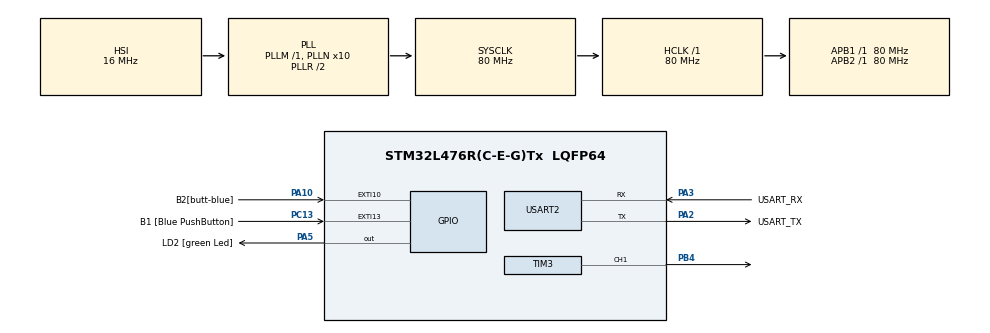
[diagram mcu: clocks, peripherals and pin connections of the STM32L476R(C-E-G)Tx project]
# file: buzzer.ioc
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Mcu.Family=STM32L4
Mcu.Name=STM32L476R(C-E-G)Tx
Mcu.Package=LQFP64
NVIC.EXTI15_10_IRQn=true\:0\:0\:false\:false\:true\:true\:true\:true
NVIC.PriorityGroup=NVIC_PRIORITYGROUP_4
NVIC.TIM3_IRQn=true\:0\:0\:false\:false\:true\:true\:true\:true
NVIC.TIM6_DAC_IRQn=true\:0\:0\:false\:false\:true\:true\:true\:true
NVIC.USART2_IRQn=true\:0\:0\:false\:false\:true\:true\:true\:true
PA10.GPIO_Label=B2[butt-blue]
PA10.Signal=GPXTI10
PA13\ (JTMS-SWDIO).GPIO_Label=TMS
PA13\ (JTMS-SWDIO).Mode=Serial_Wire
PA13\ (JTMS-SWDIO).Signal=SYS_JTMS-SWDIO
PA14\ (JTCK-SWCLK).GPIO_Label=TCK
PA14\ (JTCK-SWCLK).Mode=Serial_Wire
PA14\ (JTCK-SWCLK).Signal=SYS_JTCK-SWCLK
PA2.GPIO_Label=USART_TX
PA2.GPIO_Mode=GPIO_MODE_AF_PP
PA2.GPIO_PuPd=GPIO_NOPULL
PA2.GPIO_Speed=GPIO_SPEED_FREQ_VERY_HIGH
PA2.Mode=Asynchronous
PA2.Signal=USART2_TX
PA3.GPIO_Label=USART_RX
PA3.GPIO_Mode=GPIO_MODE_AF_PP
PA3.GPIO_PuPd=GPIO_NOPULL
PA3.GPIO_Speed=GPIO_SPEED_FREQ_VERY_HIGH
PA3.Mode=Asynchronous
PA3.Signal=USART2_RX
PA5.GPIO_Label=LD2 [green Led]
PA5.GPIO_ModeDefaultOutputPP=GPIO_MODE_OUTPUT_PP
PA5.GPIO_PuPd=GPIO_NOPULL
PA5.GPIO_Speed=GPIO_SPEED_FREQ_LOW
PA5.Signal=GPIO_Output
PB3\ (JTDO-TRACESWO).GPIO_Label=SWO
PB3\ (JTDO-TRACESWO).Signal=SYS_JTDO-SWO
PB4\ (NJTRST).Signal=S_TIM3_CH1
PC13.GPIO_Label=B1 [Blue PushButton]
PC13.GPIO_ModeDefaultEXTI=GPIO_MODE_IT_FALLING
PC13.GPIO_PuPd=GPIO_NOPULL
PC13.Signal=GPXTI13
PC14-OSC32_IN\ (PC14).Mode=LSE-External-Oscillator
PC14-OSC32_IN\ (PC14).Signal=RCC_OSC32_IN
PC15-OSC32_OUT\ (PC15).Mode=LSE-External-Oscillator
PC15-OSC32_OUT\ (PC15).Signal=RCC_OSC32_OUT
PH0-OSC_IN\ (PH0).Signal=RCC_OSC_IN
PH1-OSC_OUT\ (PH1).Signal=RCC_OSC_OUT
ProjectManager.HeapSize=0x200
ProjectManager.StackSize=0x400
ProjectManager.TargetToolchain=STM32CubeIDE
RCC.ADCFreq_Value=64000000
RCC.AHBFreq_Value=80000000
RCC.APB1Freq_Value=80000000
RCC.APB1TimFreq_Value=80000000
RCC.APB2Freq_Value=80000000
RCC.APB2TimFreq_Value=80000000
RCC.CortexFreq_Value=80000000
RCC.HCLKFreq_Value=80000000
RCC.HSE_VALUE=8000000
RCC.HSI_VALUE=16000000
RCC.MSI_VALUE=4000000
RCC.PLLN=10
RCC.PLLSourceVirtual=RCC_PLLSOURCE_HSI
RCC.PREFETCH_ENABLE=1
RCC.SYSCLKFreq_VALUE=80000000
RCC.SYSCLKSource=RCC_SYSCLKSOURCE_PLLCLK
RCC.USBFreq_Value=64000000
RCC.VCOOutputFreq_Value=160000000
SH.S_TIM3_CH1.0=TIM3_CH1,PWM Generation1 CH1
TIM3.Channel-PWM\ Generation1\ CH1=TIM_CHANNEL_1
TIM3.Period=100
TIM3.Prescaler=799
TIM3.Pulse-PWM\ Generation1\ CH1=50
TIM6.Period=3999
TIM6.Prescaler=7999
USART2.VirtualMode-Asynchronous=VM_ASYNC
VP_TIM3_VS_ClockSourceINT.Mode=Internal
VP_TIM6_VS_ClockSourceINT.Mode=Enable_Timer
board=NUCLEO-L476RG

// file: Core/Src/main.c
/* USER CODE BEGIN Header */
/**
  ******************************************************************************
  * @file           : main.c
  * @brief          : Main program body
  ******************************************************************************
  * @attention
  *
  * Copyright (c) 2022 STMicroelectronics.
  * All rights reserved.
  *
  * This software is licensed under terms that can be found in the LICENSE file
  * in the root directory of this software component.
  * If no LICENSE file comes with this software, it is provided AS-IS.
  *
  ******************************************************************************
  */
/* USER CODE END Header */
#include "main.h"

 TIM_HandleTypeDef htim3;
TIM_HandleTypeDef htim6;

UART_HandleTypeDef huart2;

void SystemClock_Config(void);
static void MX_GPIO_Init(void);
static void MX_USART2_UART_Init(void);
static void MX_TIM3_Init(void);
static void MX_TIM6_Init(void);

/* USER CODE BEGIN 0 */
typedef enum BUTT_STATE_
{
	STATE_MUSIC_ON,
	STATE_MUSIC_OFF,
}BUTT_STATE;

BUTT_STATE play = STATE_MUSIC_OFF;

//int note[] = {390, 340, 303, 286, 255, 227, 202};
//int note[] = {698, 784, 880, 784, 698, 659, 698, 698, 698, 659, 698, 659, 523, 587, 587, 587, 587, 523, 523, 523, 523, 698, 784, 880, 784, 698, 659, 698, 0, 0, 698, 784, 698, 659, 523 };
int note[] = {392, 330, 330, 349, 294, 294, 262, 294, 349, 392, 392, 392};
int lenght[] = {4, 4, 2, 4, 4, 2, 4, 4, 4, 4, 4, 4, 2};
size_t size = sizeof(note)/sizeof(note[0]);
int currentNote = 0;
int tone = 3;
int sec = 9999;

void Buzzer_playNote(int noteIdx)
{
	currentNote = noteIdx;

	__HAL_TIM_SET_COUNTER(&htim3, 0);
	__HAL_TIM_SET_AUTORELOAD(&htim3, note[currentNote]);
	__HAL_TIM_SET_COMPARE(&htim3, TIM_CHANNEL_1, (note[currentNote])/2);

	__HAL_TIM_SET_COUNTER(&htim6, 0);
	__HAL_TIM_SET_AUTORELOAD(&htim6, sec/lenght[currentNote]);
}

void Buzzer_playNextNote()
{
	currentNote++;
	if(currentNote >= size){
		currentNote = 0;
	}
	Buzzer_playNote(currentNote);
}

void HAL_GPIO_EXTI_Callback(uint16_t GPIO_Pin)
{
	if(play == STATE_MUSIC_OFF){
		HAL_TIM_Base_Start_IT(&htim3);
		HAL_TIM_PWM_Start_IT(&htim3, TIM_CHANNEL_1);
		Buzzer_playNote(0);
		play = STATE_MUSIC_ON;
	}
	else
	{
		HAL_TIM_Base_Stop_IT(&htim3);
		HAL_TIM_PWM_Stop_IT(&htim3, TIM_CHANNEL_1);
		play = STATE_MUSIC_OFF;
	}
}

void HAL_TIM_PeriodElapsedCallback(TIM_HandleTypeDef * htim)
{
	if(htim == &htim6){
		Buzzer_playNextNote();
	}
}

/* USER CODE END 0 */

int main(void)
{

  /* MCU Configuration--------------------------------------------------------*/

  /* Reset of all peripherals, Initializes the Flash interface and the Systick. */
  HAL_Init();

  /* Configure the system clock */
  SystemClock_Config();

  /* Initialize all configured peripherals */
  MX_GPIO_Init();
  MX_USART2_UART_Init();
  MX_TIM3_Init();
  MX_TIM6_Init();
  /* USER CODE BEGIN 2 */
  HAL_TIM_Base_Start_IT(&htim6);
  /* USER CODE END 2 */

  /* Infinite loop */
  while (1)
  {

  }
}

void SystemClock_Config(void)
{
  RCC_OscInitTypeDef RCC_OscInitStruct = {0};
  RCC_ClkInitTypeDef RCC_ClkInitStruct = {0};

  /** Configure the main internal regulator output voltage
  */
  if (HAL_PWREx_ControlVoltageScaling(PWR_REGULATOR_VOLTAGE_SCALE1) != HAL_OK)
  {
    Error_Handler();
  }

  /** Initializes the RCC Oscillators according to the specified parameters
  * in the RCC_OscInitTypeDef structure.
  */
  RCC_OscInitStruct.OscillatorType = RCC_OSCILLATORTYPE_HSI;
  RCC_OscInitStruct.HSIState = RCC_HSI_ON;
  RCC_OscInitStruct.HSICalibrationValue = RCC_HSICALIBRATION_DEFAULT;
  RCC_OscInitStruct.PLL.PLLState = RCC_PLL_ON;
  RCC_OscInitStruct.PLL.PLLSource = RCC_PLLSOURCE_HSI;
  RCC_OscInitStruct.PLL.PLLM = 1;
  RCC_OscInitStruct.PLL.PLLN = 10;
  RCC_OscInitStruct.PLL.PLLP = RCC_PLLP_DIV7;
  RCC_OscInitStruct.PLL.PLLQ = RCC_PLLQ_DIV2;
  RCC_OscInitStruct.PLL.PLLR = RCC_PLLR_DIV2;
  if (HAL_RCC_OscConfig(&RCC_OscInitStruct) != HAL_OK)
  {
    Error_Handler();
  }

  /** Initializes the CPU, AHB and APB buses clocks
  */
  RCC_ClkInitStruct.ClockType = RCC_CLOCKTYPE_HCLK|RCC_CLOCKTYPE_SYSCLK
                              |RCC_CLOCKTYPE_PCLK1|RCC_CLOCKTYPE_PCLK2;
  RCC_ClkInitStruct.SYSCLKSource = RCC_SYSCLKSOURCE_PLLCLK;
  RCC_ClkInitStruct.AHBCLKDivider = RCC_SYSCLK_DIV1;
  RCC_ClkInitStruct.APB1CLKDivider = RCC_HCLK_DIV1;
  RCC_ClkInitStruct.APB2CLKDivider = RCC_HCLK_DIV1;

  if (HAL_RCC_ClockConfig(&RCC_ClkInitStruct, FLASH_LATENCY_4) != HAL_OK)
  {
    Error_Handler();
  }
}

static void MX_TIM3_Init(void)
{

  TIM_ClockConfigTypeDef sClockSourceConfig = {0};
  TIM_MasterConfigTypeDef sMasterConfig = {0};
  TIM_OC_InitTypeDef sConfigOC = {0};

  htim3.Instance = TIM3;
  htim3.Init.Prescaler = 799;
  htim3.Init.CounterMode = TIM_COUNTERMODE_UP;
  htim3.Init.Period = 100;
  htim3.Init.ClockDivision = TIM_CLOCKDIVISION_DIV1;
  htim3.Init.AutoReloadPreload = TIM_AUTORELOAD_PRELOAD_DISABLE;
  if (HAL_TIM_Base_Init(&htim3) != HAL_OK)
  {
    Error_Handler();
  }
  sClockSourceConfig.ClockSource = TIM_CLOCKSOURCE_INTERNAL;
  if (HAL_TIM_ConfigClockSource(&htim3, &sClockSourceConfig) != HAL_OK)
  {
    Error_Handler();
  }
  if (HAL_TIM_PWM_Init(&htim3) != HAL_OK)
  {
    Error_Handler();
  }
  sMasterConfig.MasterOutputTrigger = TIM_TRGO_RESET;
  sMasterConfig.MasterSlaveMode = TIM_MASTERSLAVEMODE_DISABLE;
  if (HAL_TIMEx_MasterConfigSynchronization(&htim3, &sMasterConfig) != HAL_OK)
  {
    Error_Handler();
  }
  sConfigOC.OCMode = TIM_OCMODE_PWM1;
  sConfigOC.Pulse = 50;
  sConfigOC.OCPolarity = TIM_OCPOLARITY_HIGH;
  sConfigOC.OCFastMode = TIM_OCFAST_DISABLE;
  if (HAL_TIM_PWM_ConfigChannel(&htim3, &sConfigOC, TIM_CHANNEL_1) != HAL_OK)
  {
    Error_Handler();
  }
  HAL_TIM_MspPostInit(&htim3);

}

static void MX_TIM6_Init(void)
{

  TIM_MasterConfigTypeDef sMasterConfig = {0};

  htim6.Instance = TIM6;
  htim6.Init.Prescaler = 7999;
  htim6.Init.CounterMode = TIM_COUNTERMODE_UP;
  htim6.Init.Period = 3999;
  htim6.Init.AutoReloadPreload = TIM_AUTORELOAD_PRELOAD_DISABLE;
  if (HAL_TIM_Base_Init(&htim6) != HAL_OK)
  {
    Error_Handler();
  }
  sMasterConfig.MasterOutputTrigger = TIM_TRGO_RESET;
  sMasterConfig.MasterSlaveMode = TIM_MASTERSLAVEMODE_DISABLE;
  if (HAL_TIMEx_MasterConfigSynchronization(&htim6, &sMasterConfig) != HAL_OK)
  {
    Error_Handler();
  }

}

static void MX_USART2_UART_Init(void)
{

  huart2.Instance = USART2;
  huart2.Init.BaudRate = 115200;
  huart2.Init.WordLength = UART_WORDLENGTH_8B;
  huart2.Init.StopBits = UART_STOPBITS_1;
  huart2.Init.Parity = UART_PARITY_NONE;
  huart2.Init.Mode = UART_MODE_TX_RX;
  huart2.Init.HwFlowCtl = UART_HWCONTROL_NONE;
  huart2.Init.OverSampling = UART_OVERSAMPLING_16;
  huart2.Init.OneBitSampling = UART_ONE_BIT_SAMPLE_DISABLE;
  huart2.AdvancedInit.AdvFeatureInit = UART_ADVFEATURE_NO_INIT;
  if (HAL_UART_Init(&huart2) != HAL_OK)
  {
    Error_Handler();
  }

}

static void MX_GPIO_Init(void)
{
  GPIO_InitTypeDef GPIO_InitStruct = {0};

  /* GPIO Ports Clock Enable */
  __HAL_RCC_GPIOC_CLK_ENABLE();
  __HAL_RCC_GPIOH_CLK_ENABLE();
  __HAL_RCC_GPIOA_CLK_ENABLE();
  __HAL_RCC_GPIOB_CLK_ENABLE();

  /*Configure GPIO pin Output Level */
  HAL_GPIO_WritePin(LD2_GPIO_Port, LD2_Pin, GPIO_PIN_RESET);

  /*Configure GPIO pin : B1_Pin */
  GPIO_InitStruct.Pin = B1_Pin;
  GPIO_InitStruct.Mode = GPIO_MODE_IT_FALLING;
  GPIO_InitStruct.Pull = GPIO_NOPULL;
  HAL_GPIO_Init(B1_GPIO_Port, &GPIO_InitStruct);

  /*Configure GPIO pin : LD2_Pin */
  GPIO_InitStruct.Pin = LD2_Pin;
  GPIO_InitStruct.Mode = GPIO_MODE_OUTPUT_PP;
  GPIO_InitStruct.Pull = GPIO_NOPULL;
  GPIO_InitStruct.Speed = GPIO_SPEED_FREQ_LOW;
  HAL_GPIO_Init(LD2_GPIO_Port, &GPIO_InitStruct);

  /*Configure GPIO pin : B2_Pin */
  GPIO_InitStruct.Pin = B2_Pin;
  GPIO_InitStruct.Mode = GPIO_MODE_IT_RISING;
  GPIO_InitStruct.Pull = GPIO_NOPULL;
  HAL_GPIO_Init(B2_GPIO_Port, &GPIO_InitStruct);

  /* EXTI interrupt init*/
  HAL_NVIC_SetPriority(EXTI15_10_IRQn, 0, 0);
  HAL_NVIC_EnableIRQ(EXTI15_10_IRQn);

}

void Error_Handler(void)
{
  __disable_irq();
  while (1)
  {
  }
}
